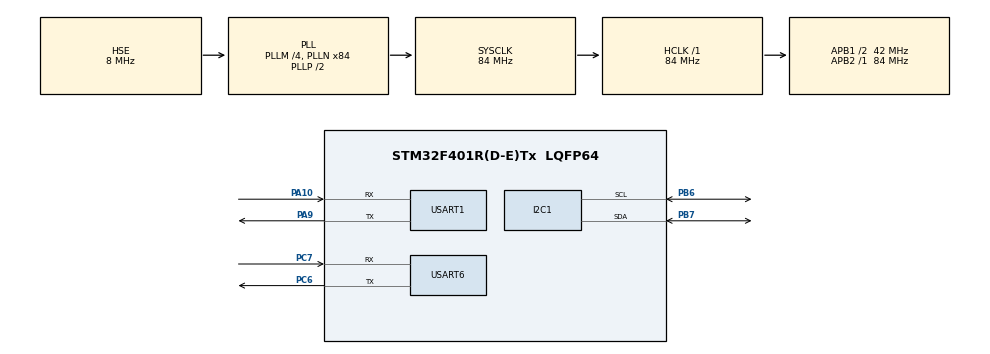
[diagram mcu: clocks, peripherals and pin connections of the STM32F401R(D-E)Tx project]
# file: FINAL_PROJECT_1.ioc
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Mcu.Family=STM32F4
Mcu.Name=STM32F401R(D-E)Tx
Mcu.Package=LQFP64
NVIC.PriorityGroup=NVIC_PRIORITYGROUP_4
PA10.Mode=Asynchronous
PA10.Signal=USART1_RX
PA13.Mode=Serial_Wire
PA13.Signal=SYS_JTMS-SWDIO
PA14.Mode=Serial_Wire
PA14.Signal=SYS_JTCK-SWCLK
PA9.Mode=Asynchronous
PA9.Signal=USART1_TX
PB6.Mode=I2C
PB6.Signal=I2C1_SCL
PB7.Mode=I2C
PB7.Signal=I2C1_SDA
PC6.Mode=Asynchronous
PC6.Signal=USART6_TX
PC7.Mode=Asynchronous
PC7.Signal=USART6_RX
PH0\ -\ OSC_IN.Mode=HSE-External-Clock-Source
PH0\ -\ OSC_IN.Signal=RCC_OSC_IN
PH1\ -\ OSC_OUT.Mode=HSE-External-Clock-Source
PH1\ -\ OSC_OUT.Signal=RCC_OSC_OUT
ProjectManager.HeapSize=0x200
ProjectManager.StackSize=0x400
ProjectManager.TargetToolchain=STM32CubeIDE
RCC.48MHZClocksFreq_Value=42000000
RCC.AHBFreq_Value=84000000
RCC.APB1CLKDivider=RCC_HCLK_DIV2
RCC.APB1Freq_Value=42000000
RCC.APB1TimFreq_Value=84000000
RCC.APB2Freq_Value=84000000
RCC.APB2TimFreq_Value=84000000
RCC.CortexFreq_Value=84000000
RCC.HCLKFreq_Value=84000000
RCC.HSE_VALUE=8000000
RCC.HSI_VALUE=16000000
RCC.LSE_VALUE=32768
RCC.PLLM=4
RCC.PLLN=84
RCC.PLLSourceVirtual=RCC_PLLSOURCE_HSE
RCC.SYSCLKFreq_VALUE=84000000
RCC.SYSCLKSource=RCC_SYSCLKSOURCE_PLLCLK
RCC.VCOOutputFreq_Value=168000000
USART1.VirtualMode=VM_ASYNC
USART6.VirtualMode=VM_ASYNC
board=custom

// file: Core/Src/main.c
	/* USER CODE BEGIN Header */
/**
  ******************************************************************************
  * @file           : main.c
  * @brief          : Main program body
  ******************************************************************************
  * @attention
  *
  * Copyright (c) 2026 STMicroelectronics.
  * All rights reserved.
  *
  * This software is licensed under terms that can be found in the LICENSE file
  * in the root directory of this software component.
  * If no LICENSE file comes with this software, it is provided AS-IS.
  *
  ******************************************************************************
  */
/* USER CODE END Header */
#include "main.h"
#include "bme280.h"
#include "ESPLib.h"

/* USER CODE BEGIN Includes */
#include <stdio.h>
/* USER CODE END Includes */

I2C_HandleTypeDef hi2c1;

UART_HandleTypeDef huart1;
UART_HandleTypeDef huart6;

/* USER CODE BEGIN PV */
// Assumes I2C1 is configured via CubeMX
struct bme280_dev dev;
// extern I2C_HandleTypeDef hi2c1;
uint8_t dev_addr = BME280_I2C_ADDR_PRIM;
struct bme280_settings settings;
struct bme280_data sensor_data;

/* USER CODE END PV */

void SystemClock_Config(void);
static void MX_GPIO_Init(void);
static void MX_I2C1_Init(void);
static void MX_USART1_UART_Init(void);
static void MX_USART6_UART_Init(void);
/* USER CODE BEGIN PFP */
int8_t BME280_Config(void);
/* USER CODE END PFP */

/* USER CODE BEGIN 0 */
int8_t user_i2c_read(uint8_t reg_addr,
                     uint8_t *reg_data,
                     uint32_t len,
                     void *intf_ptr)
{
    uint8_t sensor_address = *(uint8_t *)intf_ptr;
    HAL_StatusTypeDef status;
    status = HAL_I2C_Mem_Read(&hi2c1,
                              sensor_address << 1,
                              reg_addr,
                              I2C_MEMADD_SIZE_8BIT,
                              reg_data,
                              len,
                              HAL_MAX_DELAY);
        if (status == HAL_OK)
    {
        return BME280_OK;
    }
    else
    {
        return BME280_E_COMM_FAIL;
    }
}
int8_t user_i2c_write(uint8_t reg_addr,
                      const uint8_t *reg_data,
                      uint32_t len,
                      void *intf_ptr)
{
    uint8_t sensor_address = *(uint8_t *)intf_ptr;

    HAL_StatusTypeDef status;

    status = HAL_I2C_Mem_Write(&hi2c1,
                               sensor_address << 1,
                               reg_addr,
                               I2C_MEMADD_SIZE_8BIT,
                               (uint8_t *)reg_data,
                               len,
                               HAL_MAX_DELAY);

    if (status == HAL_OK)
    {
        return BME280_OK;
    }
    else
    {
        return BME280_E_COMM_FAIL;
    }
}
void user_delay_us(uint32_t period, void *intf_ptr)
{
    uint32_t start = DWT->CYCCNT;
    uint32_t cycles = period * (HAL_RCC_GetHCLKFreq() / 1000000U);

    while ((DWT->CYCCNT - start) < cycles);
}
int8_t BME280_Config(void)
{
    int8_t rslt;
    uint8_t settings_sel;

    // Configure Bosch interface
    dev.intf = BME280_I2C_INTF;
    dev.intf_ptr = &dev_addr;
    dev.read = user_i2c_read;
    dev.write = user_i2c_write;
    dev.delay_us = user_delay_us;

    // Initialize sensor
    rslt = bme280_init(&dev);

    if (rslt != BME280_OK)
        return rslt;

    // Oversampling
    settings.osr_t = BME280_OVERSAMPLING_2X;
    settings.osr_p = BME280_OVERSAMPLING_16X;
    settings.osr_h = BME280_OVERSAMPLING_1X;

    // Filtering and standby
    settings.filter = BME280_FILTER_COEFF_16;
    settings.standby_time = BME280_STANDBY_TIME_1000_MS;

    // Select settings
    settings_sel = BME280_SEL_OSR_TEMP |
                   BME280_SEL_OSR_PRESS |
                   BME280_SEL_OSR_HUM |
                   BME280_SEL_FILTER |
                   BME280_SEL_STANDBY;

    // Apply settings
rslt = bme280_set_sensor_settings(settings_sel, &settings, &dev);

if (rslt != BME280_OK)
{
    return rslt;
}

rslt = bme280_set_sensor_mode(BME280_POWERMODE_NORMAL, &dev);

if (rslt != BME280_OK)
{
    return rslt;
}
return BME280_OK;
}
int8_t BME280_Read(void)
{
    int8_t rslt;

    rslt = bme280_get_sensor_data(
        BME280_ALL,
        &sensor_data,
        &dev
    );

    return rslt;
}
void BME280_CreateJSON(char *payload, size_t size)
{
    snprintf(payload, size,
             "{\"temperature\":%.2f,"
             "\"pressure\":%.2f,"
             "\"humidity\":%.2f}",
             sensor_data.temperature,
             sensor_data.pressure / 100.0,
             sensor_data.humidity);
}
void BME280_Publish(void)
{
    char payload[128];

    BME280_CreateJSON(payload, sizeof(payload));

    MQTT_publishTopic("snu/iot/bme280", payload, QoS0);
}
/* USER CODE END 0 */

int main(void)
{

  /* MCU Configuration--------------------------------------------------------*/

  /* Reset of all peripherals, Initializes the Flash interface and the Systick. */
  HAL_Init();

  /* USER CODE BEGIN Init */
  CoreDebug->DEMCR |= CoreDebug_DEMCR_TRCENA_Msk;
  DWT->CYCCNT = 0;
  DWT->CTRL |= DWT_CTRL_CYCCNTENA_Msk;
  /* USER CODE END Init */

  /* Configure the system clock */
  SystemClock_Config();

  /* Initialize all configured peripherals */
  MX_GPIO_Init();
  MX_I2C1_Init();
  MX_USART1_UART_Init();
  MX_USART6_UART_Init();
  /* USER CODE BEGIN 2 */
  HAL_NVIC_SetPriority(USART1_IRQn, 0, 0);
  HAL_NVIC_EnableIRQ(USART1_IRQn);

int8_t rslt = BME280_Config();

if (rslt == BME280_OK)
{
    // BME280 initialization successful
}
else
{
    Error_Handler();
}
  // 1. Initialize the Wi-Fi module on USART1
char rx[64];

// --- ESP debug: runs first, forever, until you see OK ---
while (1)
{
    HAL_UART_Transmit(&huart1, (uint8_t*)"AT\r\n", 4, 100);

    uint16_t n = 0;
    while (n < sizeof(rx) - 1 &&
           HAL_UART_Receive(&huart1, (uint8_t*)&rx[n], 1, 300) == HAL_OK)
        n++;
    rx[n] = '\0';

    // print to ST-Link virtual COM (enable USART2 in CubeMX)
    // HAL_UART_Transmit(&huart2, (uint8_t*)rx, n, 100);

    if (strstr(rx, "OK")) break;   // ESP alive, continue to real init
    HAL_Delay(1000);
}

ESP8266_Init(StationMode, huart1);
  // 2. Connect to your local Wi-Fi network (Replace with your Router SSID and Password)
  ESP8266_wifiConnect("SNUC", "snu12345");
  // 3. Connect to your MQTT Broker (Replace with your Broker's IP Address)
  // 1883 is the standard unencrypted MQTT port
  ESP8266_portConnect("TCP", "broker.emqx.io", "1883");
  MQTT_InitTypeDef_t mqttSetting = {0};
  mqttSetting.keepAlive = 500;
  mqttSetting.connectFlag = CleanSession;
  mqttSetting.clientID = "STM32_Publisher";
  // 5. Handshake with the MQTT broker
  MQTT_connectBroker(&mqttSetting);

  /* USER CODE END 2 */

  /* Infinite loop */
  /* USER CODE BEGIN WHILE */

  /* USER CODE BEGIN WHILE */

  while (1)
  {
        if (BME280_Read() == BME280_OK)
          {
              BME280_Publish();
          }

    HAL_Delay(1000);

  }

  /* USER CODE END WHILE */
}

void SystemClock_Config(void)
{
  RCC_OscInitTypeDef RCC_OscInitStruct = {0};
  RCC_ClkInitTypeDef RCC_ClkInitStruct = {0};

  /** Configure the main internal regulator output voltage
  */
  __HAL_RCC_PWR_CLK_ENABLE();
  __HAL_PWR_VOLTAGESCALING_CONFIG(PWR_REGULATOR_VOLTAGE_SCALE2);

  /** Initializes the RCC Oscillators according to the specified parameters
  * in the RCC_OscInitTypeDef structure.
  */
  RCC_OscInitStruct.OscillatorType = RCC_OSCILLATORTYPE_HSE;
  RCC_OscInitStruct.HSEState = RCC_HSE_BYPASS;
  RCC_OscInitStruct.PLL.PLLState = RCC_PLL_ON;
  RCC_OscInitStruct.PLL.PLLSource = RCC_PLLSOURCE_HSE;
  RCC_OscInitStruct.PLL.PLLM = 4;
  RCC_OscInitStruct.PLL.PLLN = 84;
  RCC_OscInitStruct.PLL.PLLP = RCC_PLLP_DIV2;
  RCC_OscInitStruct.PLL.PLLQ = 4;
  if (HAL_RCC_OscConfig(&RCC_OscInitStruct) != HAL_OK)
  {
    Error_Handler();
  }

  /** Initializes the CPU, AHB and APB buses clocks
  */
  RCC_ClkInitStruct.ClockType = RCC_CLOCKTYPE_HCLK|RCC_CLOCKTYPE_SYSCLK
                              |RCC_CLOCKTYPE_PCLK1|RCC_CLOCKTYPE_PCLK2;
  RCC_ClkInitStruct.SYSCLKSource = RCC_SYSCLKSOURCE_PLLCLK;
  RCC_ClkInitStruct.AHBCLKDivider = RCC_SYSCLK_DIV1;
  RCC_ClkInitStruct.APB1CLKDivider = RCC_HCLK_DIV2;
  RCC_ClkInitStruct.APB2CLKDivider = RCC_HCLK_DIV1;

  if (HAL_RCC_ClockConfig(&RCC_ClkInitStruct, FLASH_LATENCY_2) != HAL_OK)
  {
    Error_Handler();
  }
}

static void MX_I2C1_Init(void)
{

  hi2c1.Instance = I2C1;
  hi2c1.Init.ClockSpeed = 100000;
  hi2c1.Init.DutyCycle = I2C_DUTYCYCLE_2;
  hi2c1.Init.OwnAddress1 = 0;
  hi2c1.Init.AddressingMode = I2C_ADDRESSINGMODE_7BIT;
  hi2c1.Init.DualAddressMode = I2C_DUALADDRESS_DISABLE;
  hi2c1.Init.OwnAddress2 = 0;
  hi2c1.Init.GeneralCallMode = I2C_GENERALCALL_DISABLE;
  hi2c1.Init.NoStretchMode = I2C_NOSTRETCH_DISABLE;
  if (HAL_I2C_Init(&hi2c1) != HAL_OK)
  {
    Error_Handler();
  }

}

static void MX_USART1_UART_Init(void)
{

  huart1.Instance = USART1;
  huart1.Init.BaudRate = 115200;
  huart1.Init.WordLength = UART_WORDLENGTH_8B;
  huart1.Init.StopBits = UART_STOPBITS_1;
  huart1.Init.Parity = UART_PARITY_NONE;
  huart1.Init.Mode = UART_MODE_TX_RX;
  huart1.Init.HwFlowCtl = UART_HWCONTROL_NONE;
  huart1.Init.OverSampling = UART_OVERSAMPLING_16;
  if (HAL_UART_Init(&huart1) != HAL_OK)
  {
    Error_Handler();
  }

}

static void MX_USART6_UART_Init(void)
{

  huart6.Instance = USART6;
  huart6.Init.BaudRate = 115200;
  huart6.Init.WordLength = UART_WORDLENGTH_8B;
  huart6.Init.StopBits = UART_STOPBITS_1;
  huart6.Init.Parity = UART_PARITY_NONE;
  huart6.Init.Mode = UART_MODE_TX_RX;
  huart6.Init.HwFlowCtl = UART_HWCONTROL_NONE;
  huart6.Init.OverSampling = UART_OVERSAMPLING_16;
  if (HAL_UART_Init(&huart6) != HAL_OK)
  {
    Error_Handler();
  }

}

static void MX_GPIO_Init(void)
{

  /* GPIO Ports Clock Enable */
  __HAL_RCC_GPIOH_CLK_ENABLE();
  __HAL_RCC_GPIOC_CLK_ENABLE();
  __HAL_RCC_GPIOA_CLK_ENABLE();
  __HAL_RCC_GPIOB_CLK_ENABLE();

}

void Error_Handler(void)
{
  __disable_irq();
  while (1)
  {
  }
}
